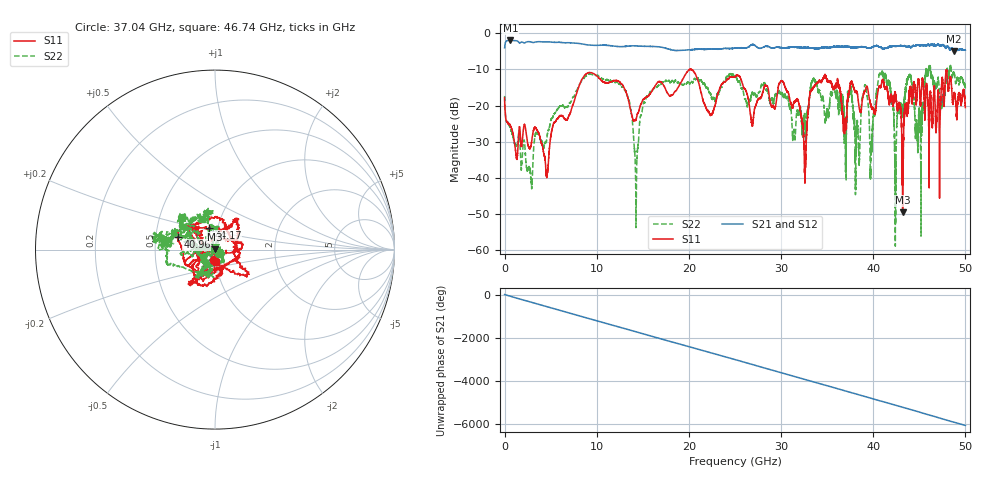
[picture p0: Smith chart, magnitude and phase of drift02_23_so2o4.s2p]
!Created with skrf (http://scikit-rf.org).
# Hz S RI R 50.0
!freq ReS11 ImS11 ReS21 ImS21 ReS12 ImS12 ReS22 ImS22
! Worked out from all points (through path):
!   10001 points, 300 kHz to 50 GHz, reference 50 ohm
!   highest |S21| = -2.00 dB at 625.3 MHz (marker M1); lowest = -4.9 dB at 48.77 GHz (marker M2)
!   group delay of S21, straight-line fit = 337 ps
!   lowest |S11| = -49.5 dB at 43.19 GHz (marker M3), VSWR 1.01, Z = 49.8 + j0.247 ohm
!   |S11| at or under -10 dB: start of sweep to 20.06 GHz; 20.20859 GHz to 20.21453 GHz (5.938 MHz wide, 0.0294 % of centre); 20.24 GHz to end of sweep (the widest 3 of 4)
!   |S22| runs from -58.8 to -8.9 dB; largest |S21 - S12| = 0.033
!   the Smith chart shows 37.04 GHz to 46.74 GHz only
!   S11 on the Smith chart (normalised r, x): 37.04 GHz: 0.99, -0.12; 40.96 GHz: 0.65, +0.10; 44.17 GHz: 0.91, +0.22; 46.74 GHz: 1.00, -0.14
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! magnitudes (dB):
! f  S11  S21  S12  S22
! 300 kHz  -17.8  -4.0  -4.0  -17.3
! 625.3 MHz  -25.5  -2.0  -2.0  -26.3
! 4.565 GHz  -39.7  -2.4  -2.4  -29.5
! 8.335 GHz  -13.0  -2.9  -2.9  -13.3
! 13.01 GHz  -15.3  -3.7  -3.7  -15.7
! 14.28 GHz  -23.8  -3.5  -3.5  -48.8
! 16.67 GHz  -13.4  -3.7  -3.7  -14.5
! 25 GHz  -12.0  -4.1  -4.1  -12.1
! 32.56 GHz  -38.7  -3.9  -4.0  -23.4
! 33.34 GHz  -15.7  -4.0  -4.1  -13.4
! 37.04 GHz  -24.7  -3.6  -3.6  -31.1
! 39.14 GHz  -15.8  -3.8  -3.9  -14.3
! 39.81 GHz  -20.3  -3.9  -4.0  -32.2
! 40.96 GHz  -13.1  -4.3  -4.2  -10.6
! 41.67 GHz  -18.4  -3.8  -3.9  -13.2
! 42.41 GHz  -16.9  -3.6  -3.7  -44.8
! 43.19 GHz  -49.5  -3.6  -3.6  -21.4
! 44.17 GHz  -17.9  -3.8  -3.8  -13.4
! 44.99 GHz  -14.6  -3.4  -3.3  -20.8
! 46.74 GHz  -23.0  -3.6  -3.5  -14.7
! 48.77 GHz  -17.2  -4.9  -4.8  -10.9
! 50 GHz  -20.6  -4.6  -4.6  -15.1
